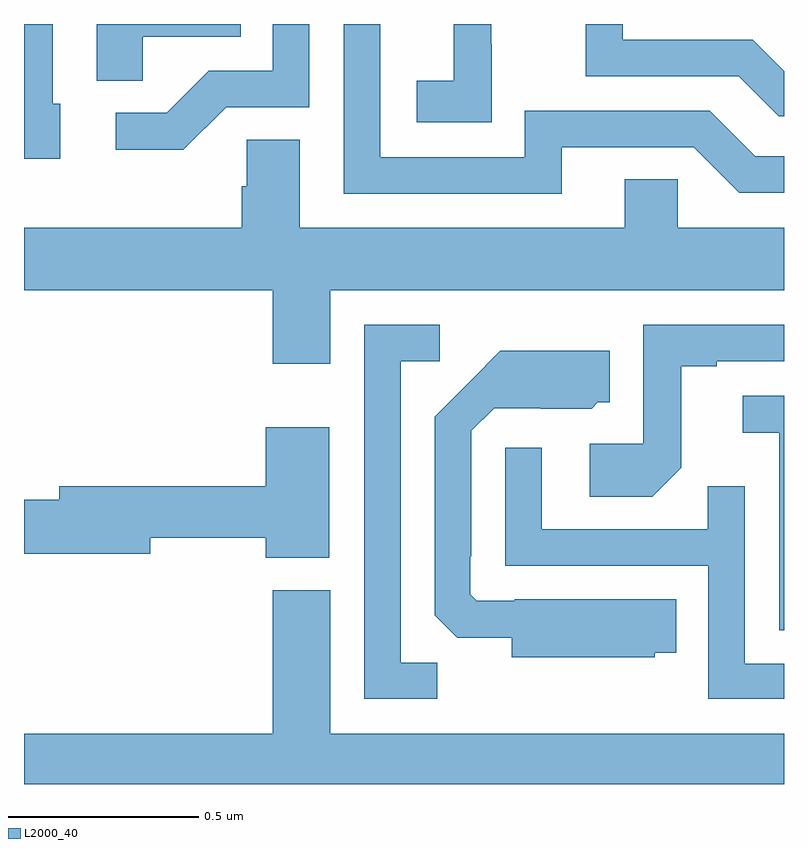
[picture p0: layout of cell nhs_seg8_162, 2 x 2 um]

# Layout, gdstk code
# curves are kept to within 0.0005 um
import gdstk
lib = gdstk.Library(unit=1e-6, precision=1e-09)
def P(c, l, *ps):  # polygons
    for p in ps: c.add(gdstk.Polygon(p, *l))
L2000_40 = (2000, 40)

nhs_seg8_162 = lib.new_cell('nhs_seg8_162')
P(nhs_seg8_162, L2000_40, [(113.532,1083.681),(113.751,1083.681),(113.751,1083.9),(113.655,1083.9),(113.655,1083.777),(113.486,1083.777),(113.375,1083.666),(113.241,1083.666),(113.241,1083.569),(113.419,1083.569)],
  [(113.095,1083.69),(113.076,1083.69),(113.076,1083.9),(113,1083.9),(113,1083.546),(113.095,1083.546)],
  [(114.415,1083.576),(114.762,1083.576),(114.882,1083.456),(115,1083.456),(115,1083.552),(114.924,1083.552),(114.804,1083.672),(114.318,1083.672),(114.318,1083.549),(113.937,1083.549),(113.937,1083.9),(113.841,1083.9),(113.841,1083.453),(114.415,1083.453)],
  [(113.313,1083.866),(113.57,1083.866),(113.57,1083.9),(113.192,1083.9),(113.192,1083.751),(113.313,1083.751)],
  [(114.231,1083.847),(114.23,1083.847),(114.23,1083.9),(114.131,1083.9),(114.131,1083.751),(114.033,1083.751),(114.033,1083.641),(114.231,1083.641)],
  [(115,1083.776),(114.918,1083.858),(114.576,1083.858),(114.576,1083.9),(114.478,1083.9),(114.478,1083.762),(114.881,1083.762),(114.986,1083.657),(115,1083.657)],
  [(113.806,1083.2),(115,1083.2),(115,1083.364),(114.72,1083.364),(114.72,1083.491),(114.581,1083.491),(114.581,1083.364),(113.725,1083.364),(113.725,1083.596),(113.586,1083.596),(113.586,1083.473),(113.573,1083.473),(113.573,1083.364),(113,1083.364),(113,1083.2),(113.654,1083.2),(113.654,1083.006),(113.806,1083.006)],
  [(114.087,1082.219),(113.991,1082.219),(113.991,1083.012),(114.094,1083.012),(114.094,1083.108),(113.895,1083.108),(113.895,1082.124),(114.087,1082.124)],
  [(114.729,1082.732),(114.729,1083),(114.823,1083),(114.823,1083.012),(115,1083.012),(115,1083.108),(114.63,1083.108),(114.63,1082.796),(114.489,1082.796),(114.489,1082.656),(114.653,1082.656)],
  [(114.66,1082.246),(114.716,1082.246),(114.716,1082.386),(114.292,1082.386),(114.292,1082.382),(114.192,1082.382),(114.174,1082.4),(114.174,1082.5),(114.177,1082.5),(114.177,1082.829),(114.237,1082.889),(114.36,1082.889),(114.36,1082.888),(114.494,1082.888),(114.51,1082.904),(114.541,1082.904),(114.541,1083.04),(114.253,1083.04),(114.081,1082.866),(114.081,1082.344),(114.14,1082.285),(114.284,1082.285),(114.284,1082.234),(114.66,1082.234)],
  [(115,1082.922),(114.891,1082.922),(114.891,1082.825),(114.987,1082.825),(114.987,1082.305),(115,1082.305)],
  [(113.803,1082.839),(113.636,1082.839),(113.636,1082.684),(113.093,1082.684),(113.093,1082.648),(113,1082.648),(113,1082.506),(113.332,1082.506),(113.332,1082.548),(113.636,1082.548),(113.636,1082.495),(113.803,1082.495)],
  [(115,1082.217),(114.897,1082.217),(114.897,1082.684),(114.799,1082.684),(114.799,1082.571),(114.363,1082.571),(114.363,1082.785),(114.267,1082.785),(114.267,1082.475),(114.801,1082.475),(114.801,1082.124),(115,1082.124)],
  [(115,1082.032),(113.806,1082.032),(113.806,1082.41),(113.654,1082.41),(113.654,1082.032),(113,1082.032),(113,1081.9),(115,1081.9)])

lib.write_gds('nhs_seg8_162.gds')
